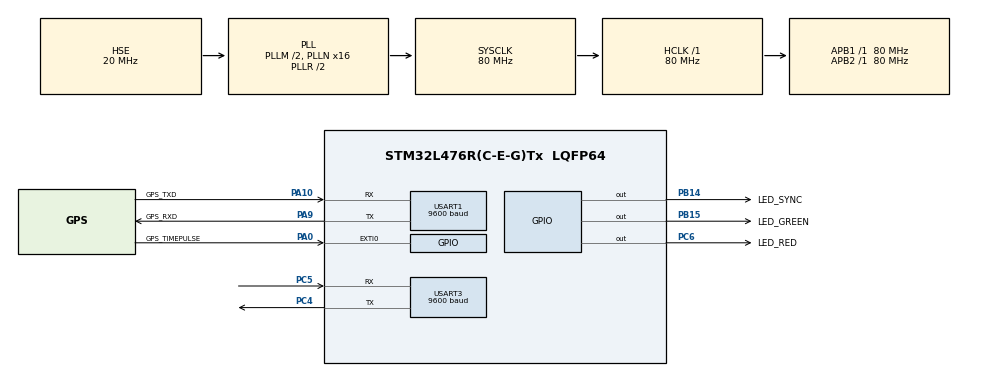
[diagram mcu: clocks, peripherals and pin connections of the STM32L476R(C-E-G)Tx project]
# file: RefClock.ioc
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Mcu.Family=STM32L4
Mcu.Name=STM32L476R(C-E-G)Tx
Mcu.Package=LQFP64
NVIC.EXTI0_IRQn=true\:0\:0\:false\:false\:true
NVIC.PriorityGroup=NVIC_PRIORITYGROUP_4
NVIC.TIM1_UP_TIM16_IRQn=true\:0\:0\:false\:false\:true
NVIC.USART1_IRQn=true\:0\:0\:false\:false\:true
NVIC.USART3_IRQn=true\:0\:0\:false\:false\:true
PA0.GPIO_Label=GPS_TIMEPULSE
PA0.Signal=GPXTI0
PA10.GPIO_Label=GPS_TXD
PA10.Mode=Asynchronous
PA10.Signal=USART1_RX
PA13.Mode=Serial_Wire
PA13.Signal=SYS_JTMS-SWDIO
PA14.Mode=Serial_Wire
PA14.Signal=SYS_JTCK-SWCLK
PA9.GPIO_Label=GPS_RXD
PA9.Mode=Asynchronous
PA9.Signal=USART1_TX
PB14.GPIO_Label=LED_SYNC
PB14.Signal=GPIO_Output
PB15.GPIO_Label=LED_GREEN
PB15.Signal=GPIO_Output
PC4.Mode=Asynchronous
PC4.Signal=USART3_TX
PC5.Mode=Asynchronous
PC5.Signal=USART3_RX
PC6.GPIO_Label=LED_RED
PC6.Signal=GPIO_Output
PH0/OSC_IN.Mode=HSE-External-Clock-Source
PH0/OSC_IN.Signal=RCC_OSC_IN
ProjectManager.HeapSize=0x400
ProjectManager.StackSize=0x600
ProjectManager.TargetToolchain=SW4STM32
RCC.ADCFreq_Value=120000000
RCC.AHBFreq_Value=80000000
RCC.APB1Freq_Value=80000000
RCC.APB1TimFreq_Value=80000000
RCC.APB2Freq_Value=80000000
RCC.APB2TimFreq_Value=80000000
RCC.CortexFreq_Value=80000000
RCC.HCLKFreq_Value=80000000
RCC.HSE_VALUE=20000000
RCC.HSI_VALUE=16000000
RCC.LSE_VALUE=32768
RCC.MSI_VALUE=4000000
RCC.PLLM=2
RCC.PLLN=16
RCC.PLLSAI1N=24
RCC.PLLSourceVirtual=RCC_PLLSOURCE_HSE
RCC.SYSCLKFreq_VALUE=80000000
RCC.SYSCLKSource=RCC_SYSCLKSOURCE_PLLCLK
RCC.USBFreq_Value=120000000
RCC.VCOOutputFreq_Value=160000000
TIM1.Period=5000
TIM1.Prescaler=80
USART1.BaudRate=9600
USART1.WordLength=UART_WORDLENGTH_8B
USART3.BaudRate=9600
USART3.WordLength=UART_WORDLENGTH_8B
VP_TIM1_VS_ClockSourceINT.Mode=Internal
board=RefClock

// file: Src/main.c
/**
  ******************************************************************************
  * File Name          : main.c
  * Description        : Main program body
  ******************************************************************************
  *
  * COPYRIGHT(c) 2016 STMicroelectronics
  *
  * Redistribution and use in source and binary forms, with or without modification,
  * are permitted provided that the following conditions are met:
  *   1. Redistributions of source code must retain the above copyright notice,
  *      this list of conditions and the following disclaimer.
  *   2. Redistributions in binary form must reproduce the above copyright notice,
  *      this list of conditions and the following disclaimer in the documentation
  *      and/or other materials provided with the distribution.
  *   3. Neither the name of STMicroelectronics nor the names of its contributors
  *      may be used to endorse or promote products derived from this software
  *      without specific prior written permission.
  *
  * THIS SOFTWARE IS PROVIDED BY THE COPYRIGHT HOLDERS AND CONTRIBUTORS "AS IS"
  * AND ANY EXPRESS OR IMPLIED WARRANTIES, INCLUDING, BUT NOT LIMITED TO, THE
  * IMPLIED WARRANTIES OF MERCHANTABILITY AND FITNESS FOR A PARTICULAR PURPOSE ARE
  * DISCLAIMED. IN NO EVENT SHALL THE COPYRIGHT HOLDER OR CONTRIBUTORS BE LIABLE
  * FOR ANY DIRECT, INDIRECT, INCIDENTAL, SPECIAL, EXEMPLARY, OR CONSEQUENTIAL
  * DAMAGES (INCLUDING, BUT NOT LIMITED TO, PROCUREMENT OF SUBSTITUTE GOODS OR
  * SERVICES; LOSS OF USE, DATA, OR PROFITS; OR BUSINESS INTERRUPTION) HOWEVER
  * CAUSED AND ON ANY THEORY OF LIABILITY, WHETHER IN CONTRACT, STRICT LIABILITY,
  * OR TORT (INCLUDING NEGLIGENCE OR OTHERWISE) ARISING IN ANY WAY OUT OF THE USE
  * OF THIS SOFTWARE, EVEN IF ADVISED OF THE POSSIBILITY OF SUCH DAMAGE.
  *
  ******************************************************************************
  */
#include "stm32l4xx_hal.h"

TIM_HandleTypeDef htim1;

UART_HandleTypeDef huart1;
UART_HandleTypeDef huart3;

/* USER CODE BEGIN PV */
/* Private variables ---------------------------------------------------------*/
uint8_t rx_gps, tx_gps;

/* USER CODE END PV */

void SystemClock_Config(void);
void Error_Handler(void);
static void MX_GPIO_Init(void);
static void MX_USART1_UART_Init(void);
static void MX_TIM1_Init(void);
static void MX_USART3_UART_Init(void);

/* USER CODE BEGIN PFP */
/* Private function prototypes -----------------------------------------------*/

/* USER CODE END PFP */

int main(void)
{

  /* MCU Configuration----------------------------------------------------------*/

  /* Reset of all peripherals, Initializes the Flash interface and the Systick. */
  HAL_Init();

  /* Configure the system clock */
  SystemClock_Config();

  /* Initialize all configured peripherals */
  MX_GPIO_Init();
  MX_USART1_UART_Init();
  MX_TIM1_Init();
  MX_USART3_UART_Init();

  /* USER CODE BEGIN 2 */
  HAL_UART_Receive_IT(&huart1, &rx_gps, sizeof(rx_gps));
  HAL_UART_Receive_IT(&huart3, &tx_gps, sizeof(tx_gps));
  /* USER CODE END 2 */

  /* Infinite loop */
  while (1)
  {

  /* USER CODE BEGIN 3 */
	   HAL_UART_Receive_IT(&huart1, &rx_gps, sizeof(rx_gps));
	  HAL_UART_Receive_IT(&huart3, &tx_gps, sizeof(tx_gps));

  }
  /* USER CODE END 3 */

}

/** System Clock Configuration
*/
void SystemClock_Config(void)
{

  RCC_OscInitTypeDef RCC_OscInitStruct;
  RCC_ClkInitTypeDef RCC_ClkInitStruct;
  RCC_PeriphCLKInitTypeDef PeriphClkInit;

  RCC_OscInitStruct.OscillatorType = RCC_OSCILLATORTYPE_HSE;
  RCC_OscInitStruct.HSEState = RCC_HSE_BYPASS;
  RCC_OscInitStruct.PLL.PLLState = RCC_PLL_ON;
  RCC_OscInitStruct.PLL.PLLSource = RCC_PLLSOURCE_HSE;
  RCC_OscInitStruct.PLL.PLLM = 2;
  RCC_OscInitStruct.PLL.PLLN = 16;
  RCC_OscInitStruct.PLL.PLLP = RCC_PLLP_DIV7;
  RCC_OscInitStruct.PLL.PLLQ = RCC_PLLQ_DIV2;
  RCC_OscInitStruct.PLL.PLLR = RCC_PLLR_DIV2;
  if (HAL_RCC_OscConfig(&RCC_OscInitStruct) != HAL_OK)
  {
    Error_Handler();
  }

  RCC_ClkInitStruct.ClockType = RCC_CLOCKTYPE_HCLK|RCC_CLOCKTYPE_SYSCLK
                              |RCC_CLOCKTYPE_PCLK1|RCC_CLOCKTYPE_PCLK2;
  RCC_ClkInitStruct.SYSCLKSource = RCC_SYSCLKSOURCE_PLLCLK;
  RCC_ClkInitStruct.AHBCLKDivider = RCC_SYSCLK_DIV1;
  RCC_ClkInitStruct.APB1CLKDivider = RCC_HCLK_DIV1;
  RCC_ClkInitStruct.APB2CLKDivider = RCC_HCLK_DIV1;
  if (HAL_RCC_ClockConfig(&RCC_ClkInitStruct, FLASH_LATENCY_4) != HAL_OK)
  {
    Error_Handler();
  }

  PeriphClkInit.PeriphClockSelection = RCC_PERIPHCLK_USART1|RCC_PERIPHCLK_USART3;
  PeriphClkInit.Usart1ClockSelection = RCC_USART1CLKSOURCE_PCLK2;
  PeriphClkInit.Usart3ClockSelection = RCC_USART3CLKSOURCE_PCLK1;
  if (HAL_RCCEx_PeriphCLKConfig(&PeriphClkInit) != HAL_OK)
  {
    Error_Handler();
  }

  __HAL_RCC_PWR_CLK_ENABLE();

  if (HAL_PWREx_ControlVoltageScaling(PWR_REGULATOR_VOLTAGE_SCALE1) != HAL_OK)
  {
    Error_Handler();
  }

  HAL_SYSTICK_Config(HAL_RCC_GetHCLKFreq()/1000);

  HAL_SYSTICK_CLKSourceConfig(SYSTICK_CLKSOURCE_HCLK);

  /* SysTick_IRQn interrupt configuration */
  HAL_NVIC_SetPriority(SysTick_IRQn, 0, 0);
}

/* TIM1 init function */
static void MX_TIM1_Init(void)
{

  TIM_ClockConfigTypeDef sClockSourceConfig;
  TIM_MasterConfigTypeDef sMasterConfig;

  htim1.Instance = TIM1;
  htim1.Init.Prescaler = 80;
  htim1.Init.CounterMode = TIM_COUNTERMODE_UP;
  htim1.Init.Period = 5000;
  htim1.Init.ClockDivision = TIM_CLOCKDIVISION_DIV1;
  htim1.Init.RepetitionCounter = 0;
  if (HAL_TIM_Base_Init(&htim1) != HAL_OK)
  {
    Error_Handler();
  }

  sClockSourceConfig.ClockSource = TIM_CLOCKSOURCE_INTERNAL;
  if (HAL_TIM_ConfigClockSource(&htim1, &sClockSourceConfig) != HAL_OK)
  {
    Error_Handler();
  }

  sMasterConfig.MasterOutputTrigger = TIM_TRGO_RESET;
  sMasterConfig.MasterOutputTrigger2 = TIM_TRGO2_RESET;
  sMasterConfig.MasterSlaveMode = TIM_MASTERSLAVEMODE_DISABLE;
  if (HAL_TIMEx_MasterConfigSynchronization(&htim1, &sMasterConfig) != HAL_OK)
  {
    Error_Handler();
  }

}

/* USART1 init function */
static void MX_USART1_UART_Init(void)
{

  huart1.Instance = USART1;
  huart1.Init.BaudRate = 9600;
  huart1.Init.WordLength = UART_WORDLENGTH_8B;
  huart1.Init.StopBits = UART_STOPBITS_1;
  huart1.Init.Parity = UART_PARITY_NONE;
  huart1.Init.Mode = UART_MODE_TX_RX;
  huart1.Init.HwFlowCtl = UART_HWCONTROL_NONE;
  huart1.Init.OverSampling = UART_OVERSAMPLING_16;
  huart1.Init.OneBitSampling = UART_ONE_BIT_SAMPLE_DISABLE;
  huart1.AdvancedInit.AdvFeatureInit = UART_ADVFEATURE_NO_INIT;
  if (HAL_UART_Init(&huart1) != HAL_OK)
  {
    Error_Handler();
  }

}

/* USART3 init function */
static void MX_USART3_UART_Init(void)
{

  huart3.Instance = USART3;
  huart3.Init.BaudRate = 9600;
  huart3.Init.WordLength = UART_WORDLENGTH_8B;
  huart3.Init.StopBits = UART_STOPBITS_1;
  huart3.Init.Parity = UART_PARITY_NONE;
  huart3.Init.Mode = UART_MODE_TX_RX;
  huart3.Init.HwFlowCtl = UART_HWCONTROL_NONE;
  huart3.Init.OverSampling = UART_OVERSAMPLING_16;
  huart3.Init.OneBitSampling = UART_ONE_BIT_SAMPLE_DISABLE;
  huart3.AdvancedInit.AdvFeatureInit = UART_ADVFEATURE_NO_INIT;
  if (HAL_UART_Init(&huart3) != HAL_OK)
  {
    Error_Handler();
  }

}

/** Configure pins as
        * Analog
        * Input
        * Output
        * EVENT_OUT
        * EXTI
*/
static void MX_GPIO_Init(void)
{

  GPIO_InitTypeDef GPIO_InitStruct;

  /* GPIO Ports Clock Enable */
  __HAL_RCC_GPIOH_CLK_ENABLE();
  __HAL_RCC_GPIOA_CLK_ENABLE();
  __HAL_RCC_GPIOC_CLK_ENABLE();
  __HAL_RCC_GPIOB_CLK_ENABLE();

  /*Configure GPIO pin : GPS_TIMEPULSE_Pin */
  GPIO_InitStruct.Pin = GPS_TIMEPULSE_Pin;
  GPIO_InitStruct.Mode = GPIO_MODE_IT_RISING;
  GPIO_InitStruct.Pull = GPIO_NOPULL;
  HAL_GPIO_Init(GPS_TIMEPULSE_GPIO_Port, &GPIO_InitStruct);

  /*Configure GPIO pins : LED_SYNC_Pin LED_GREEN_Pin */
  GPIO_InitStruct.Pin = LED_SYNC_Pin|LED_GREEN_Pin;
  GPIO_InitStruct.Mode = GPIO_MODE_OUTPUT_PP;
  GPIO_InitStruct.Pull = GPIO_NOPULL;
  GPIO_InitStruct.Speed = GPIO_SPEED_FREQ_LOW;
  HAL_GPIO_Init(GPIOB, &GPIO_InitStruct);

  /*Configure GPIO pin : LED_RED_Pin */
  GPIO_InitStruct.Pin = LED_RED_Pin;
  GPIO_InitStruct.Mode = GPIO_MODE_OUTPUT_PP;
  GPIO_InitStruct.Pull = GPIO_NOPULL;
  GPIO_InitStruct.Speed = GPIO_SPEED_FREQ_LOW;
  HAL_GPIO_Init(LED_RED_GPIO_Port, &GPIO_InitStruct);

  /*Configure GPIO pin Output Level */
  HAL_GPIO_WritePin(GPIOB, LED_SYNC_Pin|LED_GREEN_Pin, GPIO_PIN_RESET);

  /*Configure GPIO pin Output Level */
  HAL_GPIO_WritePin(LED_RED_GPIO_Port, LED_RED_Pin, GPIO_PIN_RESET);

  /* EXTI interrupt init*/
  HAL_NVIC_SetPriority(EXTI0_IRQn, 0, 0);
  HAL_NVIC_EnableIRQ(EXTI0_IRQn);

}

/* USER CODE BEGIN 4 */

/**
  * @brief Rx Transfer completed callback.
  * @param huart: UART handle.
  * @retval None
  */
void HAL_UART_RxCpltCallback(UART_HandleTypeDef *huart)
{
	if (huart->Instance == huart1.Instance) {
		HAL_GPIO_TogglePin(LED_RED_GPIO_Port, LED_RED_Pin);
		HAL_UART_Transmit(&huart3, &rx_gps, 1, 0);
		HAL_UART_Receive_IT(&huart1, &rx_gps, sizeof(rx_gps));
	}

	if (huart->Instance == huart3.Instance) {
		HAL_GPIO_TogglePin(LED_GREEN_GPIO_Port, LED_GREEN_Pin);
		HAL_UART_Transmit(&huart1, &rx_gps, 1, 0);
		HAL_UART_Receive_IT(&huart3, &rx_gps, sizeof(rx_gps));
	}
}

/**
  * @brief  EXTI line detection callback.
  * @param  GPIO_Pin: Specifies the port pin connected to corresponding EXTI line.
  * @retval None
  */
void HAL_GPIO_EXTI_Callback(uint16_t GPIO_Pin)
{
	HAL_GPIO_TogglePin(LED_SYNC_GPIO_Port, LED_SYNC_Pin);
}

/* USER CODE END 4 */

void Error_Handler(void)
{
  while(1)
  {
  }
}

/************************ (C) COPYRIGHT STMicroelectronics *****END OF FILE****/
